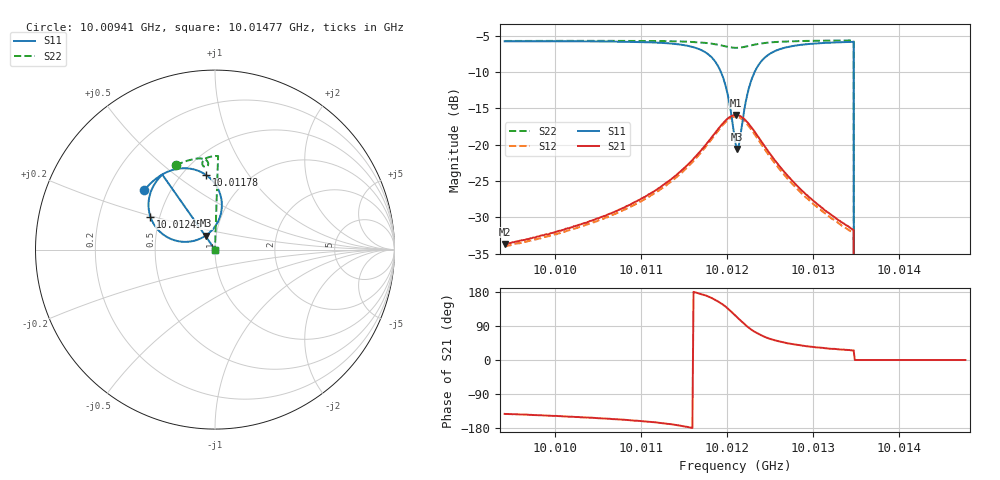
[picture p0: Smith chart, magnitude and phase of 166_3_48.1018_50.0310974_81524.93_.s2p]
#  HZ  S  RI  R  50.00
! Rohde & Schwarz Vector Network Analyzer
! Rohde-Schwarz,ZNB20-2Port,1311601062101988,3.16
! Created: UTC 12/23/2023, 3:51:17 AM
! freq[Hz]  re:S11  im:S11  re:S21  im:S21  re:S12  im:S12  re:S22  im:S22
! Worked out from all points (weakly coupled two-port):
!   401 points, 10.00941 GHz to 10.01477 GHz, reference 50 ohm
!   highest |S21| = -15.91 dB at 10.01211 GHz (marker M1); lowest = -33.7 dB at 10.00941 GHz (marker M2)
!   lowest |S11| = -20.6 dB at 10.01212 GHz (marker M3), VSWR 1.21, Z = 44.6 + j7.02 ohm
!   |S11| at or under -10 dB: 10.01193 GHz to 10.01232 GHz (391.5 kHz wide, 0.00391 % of centre); 10.01347 GHz to end of sweep
!   |S22| runs from - to -5.6 dB; largest |S21 - S12| = 0.0084
!   S11 on the Smith chart (normalised r, x): 10.00941 GHz: 0.36, +0.32; 10.01178 GHz: 0.65, +0.65; 10.01245 GHz: 0.44, +0.20; 10.01477 GHz: 1.00, +0.00
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1.0009413e10  -0.3954 0.3295  -0.0164 -0.0127  -0.0152 -0.013  -0.2167 0.4702
1.0010311e10  -0.3405 0.3856  -0.0249 -0.0138  -0.0233 -0.0144  -0.1613 0.4929
1.0011208e10  -0.2401 0.4425  -0.0488 -0.0124  -0.0462 -0.0144  -0.0985 0.5072
1.001153e10  -0.1614 0.4531  -0.0715 -0.00474  -0.0686 -0.00809  -0.0713 0.507
1.0011785e10  -0.0486 0.4147  -0.1029 0.0231  -0.1008 0.0175  -0.0471 0.4973
1.0011878e10  0.0035 0.3616  -0.1143 0.0491  -0.1136 0.0417  -0.0398 0.488
1.0011959e10  0.0352 0.2826  -0.1162 0.0811  -0.1168 0.0742  -0.0375 0.4771
1.0012026e10  0.0312 0.1937  -0.104 0.1137  -0.1068 0.106  -0.041 0.4677
1.0012093e10  -0.0191 0.1053  -0.0752 0.1413  -0.079 0.1346  -0.0499 0.4615
1.0012106e10  -0.0342 0.0912  -0.068 0.1451  -0.0717 0.1387  -0.0521 0.4611
1.0012119e10  -0.0515 0.078  -0.0604 0.1478  -0.064 0.142  -0.0544 0.461
1.0012146e10  -0.0885 0.0583  -0.045 0.1515  -0.0485 0.1457  -0.0587 0.4617
1.0012227e10  -0.2044 0.0467  0.000368 0.1448  -0.00441 0.1399  -0.0685 0.4699
1.001228e10  -0.2664 0.0695  0.0219 0.1308  0.0165 0.1265  -0.0709 0.4776
1.0012361e10  -0.3272 0.1222  0.0397 0.1066  0.0348 0.1034  -0.0692 0.4886
1.0012454e10  -0.3601 0.1842  0.0478 0.0814  0.0425 0.0796  -0.0633 0.4986
1.0012696e10  -0.3658 0.2931  0.0443 0.0434  0.0401 0.0432  -0.0427 0.5122
1.001299e10  -0.3388 0.3614  0.0343 0.0238  0.0314 0.0243  -0.0184 0.5187
1.0013446e10  -0.2957 0.4154  0.0238 0.0114  0.0221 0.0122  0.0154 0.5215
1.0013513e10  0 0  0 0  0 0  0 0
1.0013888e10  0 0  0 0  0 0  0 0
1.0014772e10  0 0  0 0  0 0  0 0
